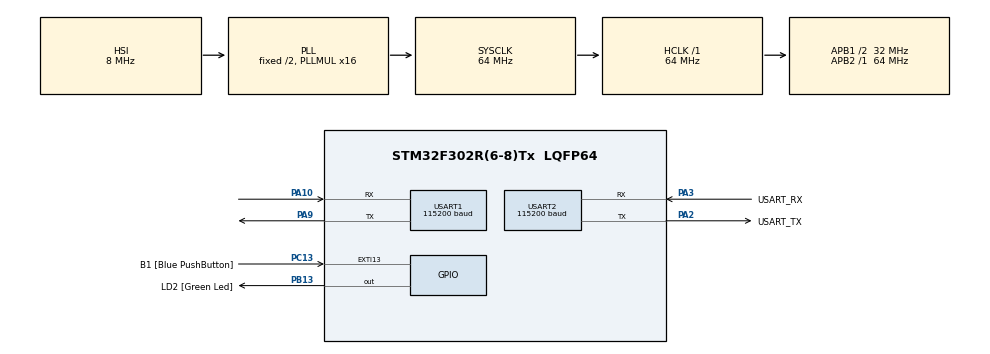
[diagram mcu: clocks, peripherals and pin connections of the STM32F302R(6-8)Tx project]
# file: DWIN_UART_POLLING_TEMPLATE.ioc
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Dma.Request0=USART1_RX
Dma.Request1=USART1_TX
Dma.USART1_RX.0.Direction=DMA_PERIPH_TO_MEMORY
Dma.USART1_RX.0.Instance=DMA1_Channel5
Dma.USART1_RX.0.MemDataAlignment=DMA_MDATAALIGN_BYTE
Dma.USART1_RX.0.MemInc=DMA_MINC_ENABLE
Dma.USART1_RX.0.Mode=DMA_NORMAL
Dma.USART1_RX.0.PeriphDataAlignment=DMA_PDATAALIGN_BYTE
Dma.USART1_RX.0.PeriphInc=DMA_PINC_DISABLE
Dma.USART1_RX.0.Priority=DMA_PRIORITY_LOW
Dma.USART1_TX.1.Direction=DMA_MEMORY_TO_PERIPH
Dma.USART1_TX.1.Instance=DMA1_Channel4
Dma.USART1_TX.1.MemDataAlignment=DMA_MDATAALIGN_BYTE
Dma.USART1_TX.1.MemInc=DMA_MINC_ENABLE
Dma.USART1_TX.1.Mode=DMA_NORMAL
Dma.USART1_TX.1.PeriphDataAlignment=DMA_PDATAALIGN_BYTE
Dma.USART1_TX.1.PeriphInc=DMA_PINC_DISABLE
Dma.USART1_TX.1.Priority=DMA_PRIORITY_LOW
Mcu.Family=STM32F3
Mcu.Name=STM32F302R(6-8)Tx
Mcu.Package=LQFP64
NVIC.DMA1_Channel4_IRQn=true\:0\:0\:false\:false\:true\:false\:true\:true
NVIC.DMA1_Channel5_IRQn=true\:0\:0\:false\:false\:true\:false\:true\:true
NVIC.PriorityGroup=NVIC_PRIORITYGROUP_0
NVIC.USART1_IRQn=true\:0\:0\:false\:false\:true\:true\:true\:true
PA10.Mode=Asynchronous
PA10.Signal=USART1_RX
PA13.GPIO_Label=TMS
PA13.Mode=Serial_Wire
PA13.Signal=SYS_JTMS-SWDIO
PA14.GPIO_Label=TCK
PA14.Mode=Serial_Wire
PA14.Signal=SYS_JTCK-SWCLK
PA2.GPIO_Label=USART_TX
PA2.GPIO_Mode=GPIO_MODE_AF_PP
PA2.GPIO_PuPd=GPIO_NOPULL
PA2.GPIO_Speed=GPIO_SPEED_FREQ_LOW
PA2.Mode=Asynchronous
PA2.Signal=USART2_TX
PA3.GPIO_Label=USART_RX
PA3.GPIO_Mode=GPIO_MODE_AF_PP
PA3.GPIO_PuPd=GPIO_NOPULL
PA3.GPIO_Speed=GPIO_SPEED_FREQ_LOW
PA3.Mode=Asynchronous
PA3.Signal=USART2_RX
PA9.Mode=Asynchronous
PA9.Signal=USART1_TX
PB13.GPIO_Label=LD2 [Green Led]
PB13.Signal=GPIO_Output
PB3.GPIO_Label=SWO
PB3.Mode=Trace_Asynchronous_SW
PB3.Signal=SYS_JTDO-TRACESWO
PC13.GPIO_Label=B1 [Blue PushButton]
PC13.GPIO_ModeDefaultEXTI=GPIO_MODE_IT_FALLING
PC13.Signal=GPXTI13
PC14\ -\ OSC32_IN.Mode=LSE-External-Oscillator
PC14\ -\ OSC32_IN.Signal=RCC_OSC32_IN
PC15\ -\ OSC32_OUT.Mode=LSE-External-Oscillator
PC15\ -\ OSC32_OUT.Signal=RCC_OSC32_OUT
PF0-OSC_IN.Mode=HSE-External-Clock-Source
PF0-OSC_IN.Signal=RCC_OSC_IN
PF1-OSC_OUT.Signal=RCC_OSC_OUT
ProjectManager.HeapSize=0x200
ProjectManager.StackSize=0x400
ProjectManager.TargetToolchain=STM32CubeIDE
RCC.AHBFreq_Value=64000000
RCC.APB1CLKDivider=RCC_HCLK_DIV2
RCC.APB1Freq_Value=32000000
RCC.APB1TimFreq_Value=64000000
RCC.APB2Freq_Value=64000000
RCC.APB2TimFreq_Value=64000000
RCC.CortexFreq_Value=64000000
RCC.HCLKFreq_Value=64000000
RCC.HSE_VALUE=8000000
RCC.HSI_VALUE=8000000
RCC.PLLM=8
RCC.PLLMUL=RCC_PLL_MUL16
RCC.PLLN=336
RCC.PLLP=RCC_PLLP_DIV4
RCC.PLLQ=7
RCC.RCC_PLLsource_Clock_Source_FROM_HSE=RCC_HSE_PREDIV_DIV2
RCC.SYSCLKFreq_VALUE=64000000
RCC.SYSCLKSourceVirtual=RCC_SYSCLKSOURCE_PLLCLK
RCC.USBFreq_Value=64000000
USART1.BaudRate=115200
USART1.VirtualMode-Asynchronous=VM_ASYNC
USART2.BaudRate=115200
USART2.VirtualMode-Asynchronous=VM_ASYNC
board=NUCLEO-F302R8

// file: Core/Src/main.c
/* USER CODE BEGIN Header */
/**
  ******************************************************************************
  * @file           : main.c
  * @brief          : Main program body
  ******************************************************************************
  * @attention
  *
  * Copyright (c) 2026 STMicroelectronics.
  * All rights reserved.
  *
  * This software is licensed under terms that can be found in the LICENSE file
  * in the root directory of this software component.
  * If no LICENSE file comes with this software, it is provided AS-IS.
  *
  ******************************************************************************
  */
/* USER CODE END Header */
#include "main.h"

/* USER CODE BEGIN Includes */
#include <stdint.h>
#include<string.h>
#include<stdlib.h>
#include<stdio.h>
#include<math.h>
/* USER CODE END Includes */

UART_HandleTypeDef huart1;
UART_HandleTypeDef huart2;
DMA_HandleTypeDef hdma_usart1_rx;
DMA_HandleTypeDef hdma_usart1_tx;

void SystemClock_Config(void);
static void MX_GPIO_Init(void);
static void MX_DMA_Init(void);
static void MX_USART1_UART_Init(void);
static void MX_USART2_UART_Init(void);

/* USER CODE BEGIN 0 */
uint8_t rx_byte;

 uint8_t rx_buffer[32];

 uint8_t rx_index = 0;
 uint8_t tx_buf[32];

 void DWIN_Send(uint8_t *data, uint16_t length)
 {
     HAL_UART_Transmit(&huart1,
                       data,
                       length,
                       100);
 }

 void DWIN_SetPage(uint16_t page)
 {
     uint8_t tx_buffer[10];

     tx_buffer[0] = 0x5A;
     tx_buffer[1] = 0xA5;

     tx_buffer[2] = 0x07;

     tx_buffer[3] = 0x82;

     tx_buffer[4] = 0x00;
     tx_buffer[5] = 0x84;

     tx_buffer[6] = 0x5A;

     tx_buffer[7] = 0x01;

     tx_buffer[8] = (uint8_t)(page >> 8);

     tx_buffer[9] = (uint8_t)(page & 0xFF);

     DWIN_Send(tx_buffer,
               sizeof(tx_buffer));
 }

 void DWIN_WriteVP(uint16_t vp, uint16_t value) {
     tx_buf[0] = 0x5A;
     tx_buf[1] = 0xA5;
     tx_buf[2] = 0x05;
     tx_buf[3] = 0x82;
     tx_buf[4] = (uint8_t)(vp >> 8);
     tx_buf[5] = (uint8_t)(vp & 0xFF);
     tx_buf[6] = (uint8_t)(value >> 8);
     tx_buf[7] = (uint8_t)(value & 0xFF);

     DWIN_Send(tx_buf, 8);
 }

 void DWIN_ProcessVP(uint16_t vp, uint16_t value)
 {
     switch (vp)
     {
         /* --------------------------------------------------------------
          * VP = 0x1000
          *
          * Key 0001 -> Page 1
          * Key 0002 -> Page 2
          * -------------------------------------------------------------- */
     	 case 0x0000:

             if (value == 0x1006)
             {
                 DWIN_SetPage(64);
             }
             break;

         case 0x1000:

             if (value == 0x0001)
             {
                 DWIN_SetPage(64);
             }
             else if (value == 0x0002)
             {
                 DWIN_SetPage(68);
                 DWIN_WriteVP(0x3000,15);
             }

             break;

         /* --------------------------------------------------------------
          * VP = 0x1002
          *
          * Flow value
          * -------------------------------------------------------------- */

         case 0x1002:

             break;

         /* --------------------------------------------------------------
          * VP = 0x1004
          *
          * Pressure value
          * -------------------------------------------------------------- */

         case 0x1004:

             break;

         /* --------------------------------------------------------------
          * VP = 0x1006
          *
          * Oxygen value
          * -------------------------------------------------------------- */

         case 0x1006:

             break;

         case 0x3000:

             break;

         /* --------------------------------------------------------------
          * Unknown VP
          * -------------------------------------------------------------- */

         default:

             break;
     }
 }

 void DWIN_ProcessFrame(uint8_t *data)
 {
     uint16_t vp;
     uint16_t value;

     /* ----------------------------------------------------------------------
      * Check DWIN header
      * ---------------------------------------------------------------------- */

     if (data[0] != 0x5A ||
         data[1] != 0xA5)
     {
         return;
     }

     /* ----------------------------------------------------------------------
      * Check command
      *
      * 0x83 = DWIN VP response
      * ---------------------------------------------------------------------- */

     if (data[3] != 0x83)
     {
         return;
     }

     /* ----------------------------------------------------------------------
      * Extract VP
      *
      * Example:
      *
      * data[4] = 10
      * data[5] = 00
      *
      * VP = 0x1000
      * ---------------------------------------------------------------------- */

     vp = ((uint16_t)data[4] << 8) |
           data[5];

     /* ----------------------------------------------------------------------
      * Extract value
      *
      * Example:
      *
      * data[7] = 00
      * data[8] = 01
      *
      * value = 0x0001
      * ---------------------------------------------------------------------- */

     value = ((uint16_t)data[7] << 8) |
              data[8];

     /* ----------------------------------------------------------------------
      * Send VP and value to application layer
      * ---------------------------------------------------------------------- */

     DWIN_ProcessVP(vp, value);
 }

 void  DWIN_ReceivePolling()
 {
	 /* --------------------------------------------------------------
	 	     * Wait for first header byte: 0x5A
	 	     * -------------------------------------------------------------- */

	 	    if (rx_index == 0)
	 	    {
	 	        if (HAL_UART_Receive(&huart1,
	 	                             &rx_byte,
	 	                             1,
	 	                             100) == HAL_OK)
	 	        {
	 	            if (rx_byte == 0x5A)
	 	            {
	 	                rx_buffer[rx_index++] = rx_byte;
	 	            }
	 	        }
	 	    }

	 	    /* --------------------------------------------------------------
	 	     * Wait for second header byte: 0xA5
	 	     * -------------------------------------------------------------- */

	 	    else if (rx_index == 1)
	 	    {
	 	        if (HAL_UART_Receive(&huart1,
	 	                             &rx_byte,
	 	                             1,
	 	                             100) == HAL_OK)
	 	        {
	 	            if (rx_byte == 0xA5)
	 	            {
	 	                rx_buffer[rx_index++] = rx_byte;
	 	            }
	 	            else
	 	            {
	 	                /* Wrong header - start again */

	 	                rx_index = 0;
	 	            }
	 	        }
	 	    }

	 	    /* --------------------------------------------------------------
	 	     * Receive the rest of the frame
	 	     * -------------------------------------------------------------- */

	 	    else
	 	    {
	 	        if (HAL_UART_Receive(&huart1,
	 	                             &rx_byte,
	 	                             1,
	 	                             100) == HAL_OK)
	 	        {
	 	            rx_buffer[rx_index++] = rx_byte;

	 	            /* ------------------------------------------------------
	 	             * rx_buffer[2] contains DWIN frame length.
	 	             *
	 	             * Total frame size = length + 3
	 	             *
	 	             * Example:
	 	             *
	 	             * 5A A5 06 83 10 00 01 00 01
	 	             *
	 	             * Length = 06
	 	             * Total = 06 + 3 = 9 bytes
	 	             * ------------------------------------------------------ */

	 	            if (rx_index >= 3)
	 	            {
	 	                uint8_t frame_length = rx_buffer[2];

	 	                uint8_t total_length = frame_length + 3;

	 	                if (rx_index >= total_length)
	 	                {
	 	                    DWIN_ProcessFrame(rx_buffer);

	 	                    rx_index = 0;
	 	                }
	 	            }

	 	            /* ------------------------------------------------------
	 	             * Safety
	 	             * ------------------------------------------------------ */

	 	            if (rx_index >= sizeof(rx_buffer))
	 	            {
	 	                rx_index = 0;
	 	            }
	 	        }
	 	    }
 }

/* USER CODE END 0 */

int main(void)
{

  /* MCU Configuration--------------------------------------------------------*/

  /* Reset of all peripherals, Initializes the Flash interface and the Systick. */
  HAL_Init();

  /* Configure the system clock */
  SystemClock_Config();

  /* Initialize all configured peripherals */
  MX_GPIO_Init();
  MX_DMA_Init();
  MX_USART1_UART_Init();
  MX_USART2_UART_Init();
  /* USER CODE BEGIN 2 */
  DWIN_SetPage(0);
  HAL_Delay(1000);
  DWIN_SetPage(63);
  /* USER CODE END 2 */

  /* Infinite loop */
  /* USER CODE BEGIN WHILE */
  while (1)
  {
	  DWIN_ReceivePolling();

    /* USER CODE END WHILE */

  }
}

void SystemClock_Config(void)
{
  RCC_OscInitTypeDef RCC_OscInitStruct = {0};
  RCC_ClkInitTypeDef RCC_ClkInitStruct = {0};
  RCC_PeriphCLKInitTypeDef PeriphClkInit = {0};

  /** Initializes the RCC Oscillators according to the specified parameters
  * in the RCC_OscInitTypeDef structure.
  */
  RCC_OscInitStruct.OscillatorType = RCC_OSCILLATORTYPE_HSI;
  RCC_OscInitStruct.HSIState = RCC_HSI_ON;
  RCC_OscInitStruct.HSICalibrationValue = RCC_HSICALIBRATION_DEFAULT;
  RCC_OscInitStruct.PLL.PLLState = RCC_PLL_ON;
  RCC_OscInitStruct.PLL.PLLSource = RCC_PLLSOURCE_HSI;
  RCC_OscInitStruct.PLL.PLLMUL = RCC_PLL_MUL16;
  if (HAL_RCC_OscConfig(&RCC_OscInitStruct) != HAL_OK)
  {
    Error_Handler();
  }

  /** Initializes the CPU, AHB and APB buses clocks
  */
  RCC_ClkInitStruct.ClockType = RCC_CLOCKTYPE_HCLK|RCC_CLOCKTYPE_SYSCLK
                              |RCC_CLOCKTYPE_PCLK1|RCC_CLOCKTYPE_PCLK2;
  RCC_ClkInitStruct.SYSCLKSource = RCC_SYSCLKSOURCE_PLLCLK;
  RCC_ClkInitStruct.AHBCLKDivider = RCC_SYSCLK_DIV1;
  RCC_ClkInitStruct.APB1CLKDivider = RCC_HCLK_DIV2;
  RCC_ClkInitStruct.APB2CLKDivider = RCC_HCLK_DIV1;

  if (HAL_RCC_ClockConfig(&RCC_ClkInitStruct, FLASH_LATENCY_2) != HAL_OK)
  {
    Error_Handler();
  }
  PeriphClkInit.PeriphClockSelection = RCC_PERIPHCLK_USART1;
  PeriphClkInit.Usart1ClockSelection = RCC_USART1CLKSOURCE_PCLK1;
  if (HAL_RCCEx_PeriphCLKConfig(&PeriphClkInit) != HAL_OK)
  {
    Error_Handler();
  }
}

static void MX_USART1_UART_Init(void)
{

  huart1.Instance = USART1;
  huart1.Init.BaudRate = 115200;
  huart1.Init.WordLength = UART_WORDLENGTH_8B;
  huart1.Init.StopBits = UART_STOPBITS_1;
  huart1.Init.Parity = UART_PARITY_NONE;
  huart1.Init.Mode = UART_MODE_TX_RX;
  huart1.Init.HwFlowCtl = UART_HWCONTROL_NONE;
  huart1.Init.OverSampling = UART_OVERSAMPLING_16;
  huart1.Init.OneBitSampling = UART_ONE_BIT_SAMPLE_DISABLE;
  huart1.AdvancedInit.AdvFeatureInit = UART_ADVFEATURE_NO_INIT;
  if (HAL_UART_Init(&huart1) != HAL_OK)
  {
    Error_Handler();
  }

}

static void MX_USART2_UART_Init(void)
{

  huart2.Instance = USART2;
  huart2.Init.BaudRate = 115200;
  huart2.Init.WordLength = UART_WORDLENGTH_8B;
  huart2.Init.StopBits = UART_STOPBITS_1;
  huart2.Init.Parity = UART_PARITY_NONE;
  huart2.Init.Mode = UART_MODE_TX_RX;
  huart2.Init.HwFlowCtl = UART_HWCONTROL_NONE;
  huart2.Init.OverSampling = UART_OVERSAMPLING_16;
  huart2.Init.OneBitSampling = UART_ONE_BIT_SAMPLE_DISABLE;
  huart2.AdvancedInit.AdvFeatureInit = UART_ADVFEATURE_NO_INIT;
  if (HAL_UART_Init(&huart2) != HAL_OK)
  {
    Error_Handler();
  }

}

static void MX_DMA_Init(void)
{

  /* DMA controller clock enable */
  __HAL_RCC_DMA1_CLK_ENABLE();

  /* DMA interrupt init */
  /* DMA1_Channel4_IRQn interrupt configuration */
  HAL_NVIC_SetPriority(DMA1_Channel4_IRQn, 0, 0);
  HAL_NVIC_EnableIRQ(DMA1_Channel4_IRQn);
  /* DMA1_Channel5_IRQn interrupt configuration */
  HAL_NVIC_SetPriority(DMA1_Channel5_IRQn, 0, 0);
  HAL_NVIC_EnableIRQ(DMA1_Channel5_IRQn);

}

static void MX_GPIO_Init(void)
{
  GPIO_InitTypeDef GPIO_InitStruct = {0};

  /* GPIO Ports Clock Enable */
  __HAL_RCC_GPIOC_CLK_ENABLE();
  __HAL_RCC_GPIOF_CLK_ENABLE();
  __HAL_RCC_GPIOA_CLK_ENABLE();
  __HAL_RCC_GPIOB_CLK_ENABLE();

  /*Configure GPIO pin Output Level */
  HAL_GPIO_WritePin(LD2_GPIO_Port, LD2_Pin, GPIO_PIN_RESET);

  /*Configure GPIO pin : B1_Pin */
  GPIO_InitStruct.Pin = B1_Pin;
  GPIO_InitStruct.Mode = GPIO_MODE_IT_FALLING;
  GPIO_InitStruct.Pull = GPIO_NOPULL;
  HAL_GPIO_Init(B1_GPIO_Port, &GPIO_InitStruct);

  /*Configure GPIO pin : LD2_Pin */
  GPIO_InitStruct.Pin = LD2_Pin;
  GPIO_InitStruct.Mode = GPIO_MODE_OUTPUT_PP;
  GPIO_InitStruct.Pull = GPIO_NOPULL;
  GPIO_InitStruct.Speed = GPIO_SPEED_FREQ_LOW;
  HAL_GPIO_Init(LD2_GPIO_Port, &GPIO_InitStruct);

}

void Error_Handler(void)
{
  __disable_irq();
  while (1)
  {
  }
}
